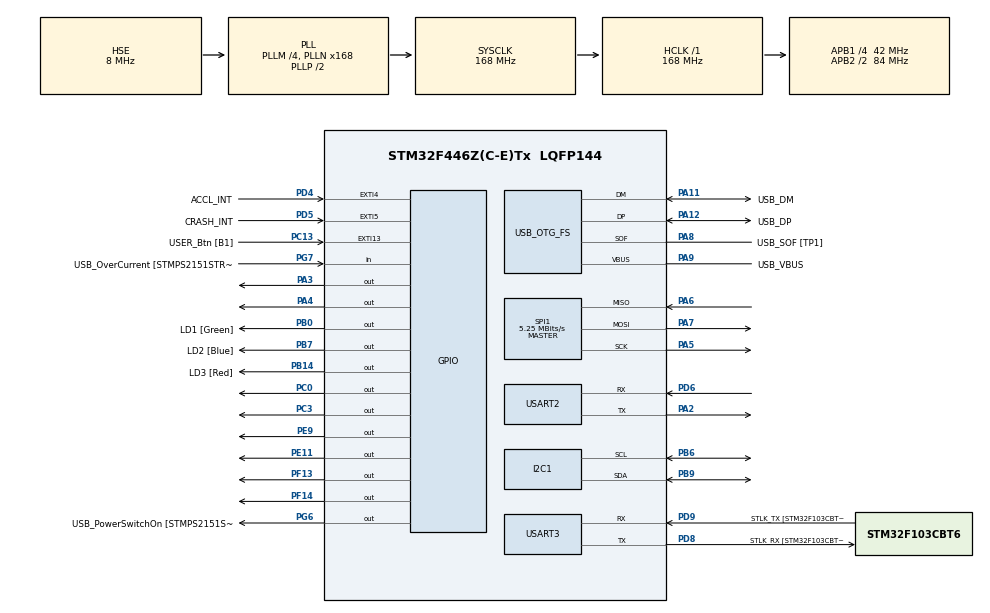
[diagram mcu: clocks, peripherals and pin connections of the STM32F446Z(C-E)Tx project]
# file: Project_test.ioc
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Dma.Request0=USART3_TX
Dma.USART3_TX.0.Direction=DMA_MEMORY_TO_PERIPH
Dma.USART3_TX.0.FIFOMode=DMA_FIFOMODE_DISABLE
Dma.USART3_TX.0.Instance=DMA1_Stream3
Dma.USART3_TX.0.MemDataAlignment=DMA_MDATAALIGN_BYTE
Dma.USART3_TX.0.MemInc=DMA_MINC_ENABLE
Dma.USART3_TX.0.Mode=DMA_NORMAL
Dma.USART3_TX.0.PeriphDataAlignment=DMA_PDATAALIGN_BYTE
Dma.USART3_TX.0.PeriphInc=DMA_PINC_DISABLE
Dma.USART3_TX.0.Priority=DMA_PRIORITY_LOW
FATFS._MAX_SS=4096
FATFS._USE_LFN=1
Mcu.Family=STM32F4
Mcu.Name=STM32F446Z(C-E)Tx
Mcu.Package=LQFP144
NVIC.DMA1_Stream3_IRQn=true\:0\:0\:false\:false\:true\:false\:true\:true
NVIC.EXTI4_IRQn=true\:0\:0\:false\:false\:true\:true\:true\:true
NVIC.EXTI9_5_IRQn=true\:0\:0\:false\:false\:true\:true\:true\:true
NVIC.PriorityGroup=NVIC_PRIORITYGROUP_4
NVIC.TIM6_DAC_IRQn=true\:0\:0\:false\:false\:true\:true\:true\:true
PA10.GPIO_Label=USB_ID
PA10.Signal=USB_OTG_FS_ID
PA11.GPIO_Label=USB_DM
PA11.Mode=Device_Only
PA11.Signal=USB_OTG_FS_DM
PA12.GPIO_Label=USB_DP
PA12.Mode=Device_Only
PA12.Signal=USB_OTG_FS_DP
PA13.GPIO_Label=TMS
PA13.Mode=Serial_Wire
PA13.Signal=SYS_JTMS-SWDIO
PA14.GPIO_Label=TCK
PA14.Mode=Serial_Wire
PA14.Signal=SYS_JTCK-SWCLK
PA2.Mode=Asynchronous
PA2.Signal=USART2_TX
PA3.Signal=GPIO_Output
PA4.Signal=GPIO_Output
PA5.Mode=Full_Duplex_Master
PA5.Signal=SPI1_SCK
PA6.Mode=Full_Duplex_Master
PA6.Signal=SPI1_MISO
PA7.Mode=Full_Duplex_Master
PA7.Signal=SPI1_MOSI
PA8.GPIO_Label=USB_SOF [TP1]
PA8.Mode=Activate_SOF_FS
PA8.Signal=USB_OTG_FS_SOF
PA9.GPIO_Label=USB_VBUS
PA9.Mode=Activate_VBUS
PA9.Signal=USB_OTG_FS_VBUS
PB0.GPIO_Label=LD1 [Green]
PB0.Signal=GPIO_Output
PB14.GPIO_Label=LD3 [Red]
PB14.Signal=GPIO_Output
PB6.Mode=I2C
PB6.Signal=I2C1_SCL
PB7.GPIO_Label=LD2 [Blue]
PB7.Signal=GPIO_Output
PB9.Mode=I2C
PB9.Signal=I2C1_SDA
PC0.Signal=GPIO_Output
PC13.GPIO_Label=USER_Btn [B1]
PC13.Signal=GPXTI13
PC14-OSC32_IN.Mode=LSE-External-Oscillator
PC14-OSC32_IN.Signal=RCC_OSC32_IN
PC15-OSC32_OUT.Mode=LSE-External-Oscillator
PC15-OSC32_OUT.Signal=RCC_OSC32_OUT
PC3.Signal=GPIO_Output
PD4.GPIO_Label=ACCL_INT
PD4.GPIO_PuPd=GPIO_PULLDOWN
PD4.Signal=GPXTI4
PD5.GPIO_Label=CRASH_INT
PD5.GPIO_PuPd=GPIO_PULLDOWN
PD5.Signal=GPXTI5
PD6.Mode=Asynchronous
PD6.Signal=USART2_RX
PD8.GPIO_Label=STLK_RX [STM32F103CBT6_PA3]
PD8.Mode=Asynchronous
PD8.Signal=USART3_TX
PD9.GPIO_Label=STLK_TX [STM32F103CBT6_PA2]
PD9.Mode=Asynchronous
PD9.Signal=USART3_RX
PE11.Signal=GPIO_Output
PE9.Signal=GPIO_Output
PF13.Signal=GPIO_Output
PF14.Signal=GPIO_Output
PG6.GPIO_Label=USB_PowerSwitchOn [STMPS2151STR_EN]
PG6.Signal=GPIO_Output
PG7.GPIO_Label=USB_OverCurrent [STMPS2151STR_FAULT]
PG7.Signal=GPIO_Input
PH0-OSC_IN.GPIO_Label=MCO [STM32F103CBT6_PA8]
PH0-OSC_IN.Mode=HSE-External-Clock-Source
PH0-OSC_IN.Signal=RCC_OSC_IN
PH1-OSC_OUT.Mode=HSE-External-Clock-Source
PH1-OSC_OUT.Signal=RCC_OSC_OUT
ProjectManager.HeapSize=0x200
ProjectManager.StackSize=0x400
ProjectManager.TargetToolchain=MDK-ARM V5.32
RCC.48MHZClocksFreq_Value=24000000
RCC.AHBFreq_Value=168000000
RCC.APB1CLKDivider=RCC_HCLK_DIV4
RCC.APB1Freq_Value=42000000
RCC.APB1TimFreq_Value=84000000
RCC.APB2CLKDivider=RCC_HCLK_DIV2
RCC.APB2Freq_Value=84000000
RCC.APB2TimFreq_Value=168000000
RCC.CortexFreq_Value=168000000
RCC.HCLKFreq_Value=168000000
RCC.HSE_VALUE=8000000
RCC.HSI_VALUE=16000000
RCC.PLLM=4
RCC.PLLMUL=RCC_PLL_MUL9
RCC.PLLN=168
RCC.PLLQ=7
RCC.PRESCALERUSB=RCC_USBCLKSOURCE_PLL_DIV1_5
RCC.SYSCLKFreq_VALUE=168000000
RCC.SYSCLKSource=RCC_SYSCLKSOURCE_PLLCLK
RCC.SYSCLKSourceVirtual=RCC_SYSCLKSOURCE_PLLCLK
RCC.USBFreq_Value=48000000
RCC.VCOOutputFreq_Value=336000000
SPI1.BaudRatePrescaler=SPI_BAUDRATEPRESCALER_16
SPI1.CalculateBaudRate=5.25 MBits/s
SPI1.Direction=SPI_DIRECTION_2LINES
SPI1.Mode=SPI_MODE_MASTER
SPI1.VirtualType=VM_MASTER
TIM1.Period=0xffff-1
TIM1.Prescaler=168-1
TIM6.Period=2000-1
TIM6.Prescaler=8400-1
USART2.VirtualMode=VM_ASYNC
USART3.VirtualMode=VM_ASYNC
USB_OTG_FS.VirtualMode=Device_Only
VP_FATFS_VS_Generic.Mode=User_defined
VP_TIM1_VS_ClockSourceINT.Mode=Internal
VP_TIM6_VS_ClockSourceINT.Mode=Enable_Timer
board=NUCLEO-F446ZE

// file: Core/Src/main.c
/* USER CODE BEGIN Header */
/**
  ******************************************************************************
  * @file           : main.c
  * @brief          : Main program body
  ******************************************************************************
  * @attention
  *
  * Copyright (c) 2024 STMicroelectronics.
  * All rights reserved.
  *
  * This software is licensed under terms that can be found in the LICENSE file
  * in the root directory of this software component.
  * If no LICENSE file comes with this software, it is provided AS-IS.
  *
  ******************************************************************************
  */
/* USER CODE END Header */
#include "main.h"
#include "fatfs.h"

/* USER CODE BEGIN Includes */
#include "config.h"
#include "lsm303agr.h"
#include "lcd1602.h"
#include "fatfs_sd.h"
#include <stdio.h>
#include <string.h>
/* USER CODE END Includes */

I2C_HandleTypeDef hi2c1;

SPI_HandleTypeDef hspi1;

TIM_HandleTypeDef htim1;
TIM_HandleTypeDef htim6;

UART_HandleTypeDef huart2;
UART_HandleTypeDef huart3;
DMA_HandleTypeDef hdma_usart3_tx;

PCD_HandleTypeDef hpcd_USB_OTG_FS;

void SystemClock_Config(void);
static void MX_GPIO_Init(void);
static void MX_DMA_Init(void);
static void MX_I2C1_Init(void);
static void MX_USART3_UART_Init(void);
static void MX_USB_OTG_FS_PCD_Init(void);
static void MX_TIM6_Init(void);
static void MX_TIM1_Init(void);
static void MX_SPI1_Init(void);
static void MX_USART2_UART_Init(void);

/* USER CODE BEGIN 0 */
FATFS fs;
FIL file;
FRESULT fresult;
char buffer[1024];

UINT br, bw;

//capacity
FATFS *pfs;
DWORD fre_clust;
uint32_t total, free_space;

int buffer_size(char *buffer)
{
	int i=0;
	while (*buffer++ != '\0') i++;
	return i;
}

void buffer_clear(void)
{
	for (int i=0; i<1024; i++)
	{
		buffer[i] = '\0';
	}
}
/* USER CODE END 0 */

int main(void)
{
  /* USER CODE BEGIN 1 */
	char msg[100];
	char* accelerating = "Accelerating... ";
	char* decelerating = "Decelerating... ";
	char* cruising = "Cruising/Idle...";
	char* crashing = "Crashing...";
	struct ac accelerationBufferOld[FIFO_SIZE];
  /* USER CODE END 1 */

  /* MCU Configuration--------------------------------------------------------*/

  /* Reset of all peripherals, Initializes the Flash interface and the Systick. */
  HAL_Init();

  /* Configure the system clock */
  SystemClock_Config();

  /* Initialize all configured peripherals */
  MX_GPIO_Init();
  MX_DMA_Init();
  MX_I2C1_Init();
  MX_USART3_UART_Init();
  MX_USB_OTG_FS_PCD_Init();
  MX_TIM6_Init();
  MX_TIM1_Init();
  MX_SPI1_Init();
  MX_USART2_UART_Init();
  MX_FATFS_Init();
  /* USER CODE BEGIN 2 */

	// Open sd and write something
	fresult = f_mount(&fs, "/", 1);
	sprintf(msg, "fresult: %d", fresult);
	print_msg(msg);
	fresult = f_open(&file, "Data.txt", FA_CREATE_ALWAYS | FA_WRITE);
	sprintf(msg, "fresult: %d", fresult);
	print_msg(msg);
	sprintf(buffer, "Logging travel data\r\n");
	fresult = f_write(&file, buffer, buffer_size(buffer), &bw);
	sprintf(msg, "fresult: %d", fresult);
	print_msg(msg);

	// other inits
	lcd_init();																			// need led plugged in?
	lcd_put_cur(0, 0);
	lsm303agr_init();
	HAL_Delay(1000);
	HAL_GPIO_TogglePin(LD1_GPIO_Port, LD1_Pin);				// signal ready
	lcd_send_string("Init Complete!");
	HAL_Delay(1000);
	lcd_clear();
	lsm303agr_fifo_en();															// kick start measurements

  /* USER CODE END 2 */

  /* Infinite loop */
  /* USER CODE BEGIN WHILE */
  while (int_crash == 0)
  {
		while (int_acc == 0) {								// spin (120-140ms)
			HAL_Delay(0);
		}
		int_acc = 0;			// reset

		// lsm303agr_write(CTRL_REG6_A, 0b00000000, 'a');				// enable INT2 functionality

		__disable_irq();
		lsm303agr_fifo_save();								// read FIFO (25ms + 5ms for avg??)
		__enable_irq();
		lsm303agr_bypass_en();								// reset FIFO (??ms)
		// __enable_irq();
		/*
		for (int i = 0; i < FIFO_SIZE; i++) {	// cache old
			accelerationBufferOld[i].x = accelerationBuffer[i].x;
		}
		*/
		// lsm303agr_write(CTRL_REG6_A, 0b00100000, 'a');				// enable INT2 functionality

		lsm303agr_fifo_en();									// enable FIFO to read in background (??ms) -> next cycle begins
		// __enable_irq();
		// lsm303agr_write(CTRL_REG6_A, 0b00100000, 'a');				// enable INT2 functionality

		/*
		for (int i = 0; i < FIFO_SIZE; i++) {
			sprintf(msg, "FIFO[%d]: %f, %f, %f, %d\r\n", i, accelerationBuffer[i].x, accelerationBuffer[i].y, accelerationBuffer[i].z, __HAL_TIM_GET_COUNTER(&htim6) / 10);
			HAL_UART_Transmit(&huart3, (uint8_t*)msg, strlen(msg), 1000);
		}
		*/

		lsm303agr_poll_temp();								// get temp (2ms)

		lsm303agr_poll_xyz_mag();							// get direction	(2ms)

		// calculations and stuff (??ms)

		lcd_clear();													// clear (2ms)
		lcd_put_cur(0, 0);										// write to display (??ms)
		char vehicleStatus[20];
		switch (xState) {
			case 0: lcd_send_string(cruising); strcpy(vehicleStatus, cruising); break;
			case 1: lcd_send_string(accelerating); strcpy(vehicleStatus, accelerating); break;
			case 2: lcd_send_string(decelerating); strcpy(vehicleStatus, decelerating); break;
			case 3: lcd_send_string(crashing); strcpy(vehicleStatus, crashing); break;
			default: break;
		}
		lcd_put_cur(1, 0);
		lcd_send_string("Direction:");
		lcd_put_cur(1, 10);
		lcd_send_string(magneticField.direction);

		// write -> 5.9ms
		sprintf(buffer, "Temp: %dC\tHeading: %s\t\tState: %s\t\tAcceleration %f %f %f %f %f %f %f %f %f %f\r\n", temp, magneticField.direction, vehicleStatus, accelerationBuffer[0].x, accelerationBuffer[1].x, accelerationBuffer[2].x, accelerationBuffer[3].x, accelerationBuffer[4].x, accelerationBuffer[5].x, accelerationBuffer[6].x, accelerationBuffer[7].x, accelerationBuffer[8].x, accelerationBuffer[9].x);
		fresult = f_write(&file, buffer, buffer_size(buffer), &bw);

		HAL_GPIO_TogglePin(LD1_GPIO_Port, LD1_Pin);

    /* USER CODE END WHILE */

    /* USER CODE BEGIN 3 */
  }

	// Crash code
	lcd_clear();
	lcd_put_cur(0, 0);
	lcd_send_string("Crash!!!");
	lcd_put_cur(1, 0);
	lcd_send_string("Check Logs!!!");
	sprintf(buffer, "Vehicle crashed!!!\r\n");
	fresult = f_write(&file, buffer, buffer_size(buffer), &bw);
	sprintf(buffer, "Showing the final %d samples of accelerometer data...\r\n", FIFO_SIZE);
	fresult = f_write(&file, buffer, buffer_size(buffer), &bw);
	/*
	for (int i = 0; i < FIFO_SIZE; i++) {
		sprintf(buffer, "Data %d: Acceleration: %fG\r\n", i, accelerationBufferOld[i].x);
		fresult = f_write(&file, buffer, buffer_size(buffer), &bw);
	}
	*/
	__disable_irq();
	lsm303agr_fifo_save();								// read FIFO (25ms + 5ms for avg??)
	__enable_irq();
	for (int i = 0; i < FIFO_SIZE; i++) {
		sprintf(buffer, "Data %d: Acceleration: %fG\r\n", i, accelerationBuffer[i].x);
		fresult = f_write(&file, buffer, buffer_size(buffer), &bw);
	}
	sprintf(buffer, "Black box data complete.\r\n");
	fresult = f_write(&file, buffer, buffer_size(buffer), &bw);

	// safely unmount sd, required for file to be written
	f_close(&file);
	fresult = f_mount(NULL, "/", 1);

	// status led
	while (1) {
		HAL_GPIO_TogglePin(LD3_GPIO_Port, LD3_Pin);
		HAL_Delay(500);
	}
	// something something print here
	// something something log here

  /* USER CODE END 3 */
}

void SystemClock_Config(void)
{
  RCC_OscInitTypeDef RCC_OscInitStruct = {0};
  RCC_ClkInitTypeDef RCC_ClkInitStruct = {0};

  /** Configure the main internal regulator output voltage
  */
  __HAL_RCC_PWR_CLK_ENABLE();
  __HAL_PWR_VOLTAGESCALING_CONFIG(PWR_REGULATOR_VOLTAGE_SCALE1);

  /** Initializes the RCC Oscillators according to the specified parameters
  * in the RCC_OscInitTypeDef structure.
  */
  RCC_OscInitStruct.OscillatorType = RCC_OSCILLATORTYPE_HSE;
  RCC_OscInitStruct.HSEState = RCC_HSE_BYPASS;
  RCC_OscInitStruct.PLL.PLLState = RCC_PLL_ON;
  RCC_OscInitStruct.PLL.PLLSource = RCC_PLLSOURCE_HSE;
  RCC_OscInitStruct.PLL.PLLM = 4;
  RCC_OscInitStruct.PLL.PLLN = 168;
  RCC_OscInitStruct.PLL.PLLP = RCC_PLLP_DIV2;
  RCC_OscInitStruct.PLL.PLLQ = 7;
  RCC_OscInitStruct.PLL.PLLR = 2;
  if (HAL_RCC_OscConfig(&RCC_OscInitStruct) != HAL_OK)
  {
    Error_Handler();
  }

  /** Initializes the CPU, AHB and APB buses clocks
  */
  RCC_ClkInitStruct.ClockType = RCC_CLOCKTYPE_HCLK|RCC_CLOCKTYPE_SYSCLK
                              |RCC_CLOCKTYPE_PCLK1|RCC_CLOCKTYPE_PCLK2;
  RCC_ClkInitStruct.SYSCLKSource = RCC_SYSCLKSOURCE_PLLCLK;
  RCC_ClkInitStruct.AHBCLKDivider = RCC_SYSCLK_DIV1;
  RCC_ClkInitStruct.APB1CLKDivider = RCC_HCLK_DIV4;
  RCC_ClkInitStruct.APB2CLKDivider = RCC_HCLK_DIV2;

  if (HAL_RCC_ClockConfig(&RCC_ClkInitStruct, FLASH_LATENCY_5) != HAL_OK)
  {
    Error_Handler();
  }
}

static void MX_I2C1_Init(void)
{

  hi2c1.Instance = I2C1;
  hi2c1.Init.ClockSpeed = 100000;
  hi2c1.Init.DutyCycle = I2C_DUTYCYCLE_2;
  hi2c1.Init.OwnAddress1 = 0;
  hi2c1.Init.AddressingMode = I2C_ADDRESSINGMODE_7BIT;
  hi2c1.Init.DualAddressMode = I2C_DUALADDRESS_DISABLE;
  hi2c1.Init.OwnAddress2 = 0;
  hi2c1.Init.GeneralCallMode = I2C_GENERALCALL_DISABLE;
  hi2c1.Init.NoStretchMode = I2C_NOSTRETCH_DISABLE;
  if (HAL_I2C_Init(&hi2c1) != HAL_OK)
  {
    Error_Handler();
  }

}

static void MX_SPI1_Init(void)
{

  /* SPI1 parameter configuration*/
  hspi1.Instance = SPI1;
  hspi1.Init.Mode = SPI_MODE_MASTER;
  hspi1.Init.Direction = SPI_DIRECTION_2LINES;
  hspi1.Init.DataSize = SPI_DATASIZE_8BIT;
  hspi1.Init.CLKPolarity = SPI_POLARITY_LOW;
  hspi1.Init.CLKPhase = SPI_PHASE_1EDGE;
  hspi1.Init.NSS = SPI_NSS_SOFT;
  hspi1.Init.BaudRatePrescaler = SPI_BAUDRATEPRESCALER_16;
  hspi1.Init.FirstBit = SPI_FIRSTBIT_MSB;
  hspi1.Init.TIMode = SPI_TIMODE_DISABLE;
  hspi1.Init.CRCCalculation = SPI_CRCCALCULATION_DISABLE;
  hspi1.Init.CRCPolynomial = 10;
  if (HAL_SPI_Init(&hspi1) != HAL_OK)
  {
    Error_Handler();
  }

}

static void MX_TIM1_Init(void)
{

  TIM_ClockConfigTypeDef sClockSourceConfig = {0};
  TIM_MasterConfigTypeDef sMasterConfig = {0};

  htim1.Instance = TIM1;
  htim1.Init.Prescaler = 168-1;
  htim1.Init.CounterMode = TIM_COUNTERMODE_UP;
  htim1.Init.Period = 0xffff-1;
  htim1.Init.ClockDivision = TIM_CLOCKDIVISION_DIV1;
  htim1.Init.RepetitionCounter = 0;
  htim1.Init.AutoReloadPreload = TIM_AUTORELOAD_PRELOAD_DISABLE;
  if (HAL_TIM_Base_Init(&htim1) != HAL_OK)
  {
    Error_Handler();
  }
  sClockSourceConfig.ClockSource = TIM_CLOCKSOURCE_INTERNAL;
  if (HAL_TIM_ConfigClockSource(&htim1, &sClockSourceConfig) != HAL_OK)
  {
    Error_Handler();
  }
  sMasterConfig.MasterOutputTrigger = TIM_TRGO_RESET;
  sMasterConfig.MasterSlaveMode = TIM_MASTERSLAVEMODE_DISABLE;
  if (HAL_TIMEx_MasterConfigSynchronization(&htim1, &sMasterConfig) != HAL_OK)
  {
    Error_Handler();
  }

}

static void MX_TIM6_Init(void)
{

  TIM_MasterConfigTypeDef sMasterConfig = {0};

  htim6.Instance = TIM6;
  htim6.Init.Prescaler = 8400-1;
  htim6.Init.CounterMode = TIM_COUNTERMODE_UP;
  htim6.Init.Period = 2000-1;
  htim6.Init.AutoReloadPreload = TIM_AUTORELOAD_PRELOAD_DISABLE;
  if (HAL_TIM_Base_Init(&htim6) != HAL_OK)
  {
    Error_Handler();
  }
  sMasterConfig.MasterOutputTrigger = TIM_TRGO_RESET;
  sMasterConfig.MasterSlaveMode = TIM_MASTERSLAVEMODE_DISABLE;
  if (HAL_TIMEx_MasterConfigSynchronization(&htim6, &sMasterConfig) != HAL_OK)
  {
    Error_Handler();
  }

}

static void MX_USART2_UART_Init(void)
{

  huart2.Instance = USART2;
  huart2.Init.BaudRate = 115200;
  huart2.Init.WordLength = UART_WORDLENGTH_8B;
  huart2.Init.StopBits = UART_STOPBITS_1;
  huart2.Init.Parity = UART_PARITY_NONE;
  huart2.Init.Mode = UART_MODE_TX_RX;
  huart2.Init.HwFlowCtl = UART_HWCONTROL_NONE;
  huart2.Init.OverSampling = UART_OVERSAMPLING_16;
  if (HAL_UART_Init(&huart2) != HAL_OK)
  {
    Error_Handler();
  }

}

static void MX_USART3_UART_Init(void)
{

  huart3.Instance = USART3;
  huart3.Init.BaudRate = 115200;
  huart3.Init.WordLength = UART_WORDLENGTH_8B;
  huart3.Init.StopBits = UART_STOPBITS_1;
  huart3.Init.Parity = UART_PARITY_NONE;
  huart3.Init.Mode = UART_MODE_TX_RX;
  huart3.Init.HwFlowCtl = UART_HWCONTROL_NONE;
  huart3.Init.OverSampling = UART_OVERSAMPLING_16;
  if (HAL_UART_Init(&huart3) != HAL_OK)
  {
    Error_Handler();
  }

}

static void MX_USB_OTG_FS_PCD_Init(void)
{

  hpcd_USB_OTG_FS.Instance = USB_OTG_FS;
  hpcd_USB_OTG_FS.Init.dev_endpoints = 6;
  hpcd_USB_OTG_FS.Init.speed = PCD_SPEED_FULL;
  hpcd_USB_OTG_FS.Init.dma_enable = DISABLE;
  hpcd_USB_OTG_FS.Init.phy_itface = PCD_PHY_EMBEDDED;
  hpcd_USB_OTG_FS.Init.Sof_enable = ENABLE;
  hpcd_USB_OTG_FS.Init.low_power_enable = DISABLE;
  hpcd_USB_OTG_FS.Init.lpm_enable = DISABLE;
  hpcd_USB_OTG_FS.Init.vbus_sensing_enable = ENABLE;
  hpcd_USB_OTG_FS.Init.use_dedicated_ep1 = DISABLE;
  if (HAL_PCD_Init(&hpcd_USB_OTG_FS) != HAL_OK)
  {
    Error_Handler();
  }

}

static void MX_DMA_Init(void)
{

  /* DMA controller clock enable */
  __HAL_RCC_DMA1_CLK_ENABLE();

  /* DMA interrupt init */
  /* DMA1_Stream3_IRQn interrupt configuration */
  HAL_NVIC_SetPriority(DMA1_Stream3_IRQn, 0, 0);
  HAL_NVIC_EnableIRQ(DMA1_Stream3_IRQn);

}

static void MX_GPIO_Init(void)
{
  GPIO_InitTypeDef GPIO_InitStruct = {0};

  /* GPIO Ports Clock Enable */
  __HAL_RCC_GPIOC_CLK_ENABLE();
  __HAL_RCC_GPIOH_CLK_ENABLE();
  __HAL_RCC_GPIOA_CLK_ENABLE();
  __HAL_RCC_GPIOB_CLK_ENABLE();
  __HAL_RCC_GPIOF_CLK_ENABLE();
  __HAL_RCC_GPIOE_CLK_ENABLE();
  __HAL_RCC_GPIOD_CLK_ENABLE();
  __HAL_RCC_GPIOG_CLK_ENABLE();

  /*Configure GPIO pin Output Level */
  HAL_GPIO_WritePin(GPIOC, GPIO_PIN_0|GPIO_PIN_3, GPIO_PIN_RESET);

  /*Configure GPIO pin Output Level */
  HAL_GPIO_WritePin(GPIOA, GPIO_PIN_3|GPIO_PIN_4, GPIO_PIN_RESET);

  /*Configure GPIO pin Output Level */
  HAL_GPIO_WritePin(GPIOB, LD1_Pin|LD3_Pin|LD2_Pin, GPIO_PIN_RESET);

  /*Configure GPIO pin Output Level */
  HAL_GPIO_WritePin(GPIOF, GPIO_PIN_13|GPIO_PIN_14, GPIO_PIN_RESET);

  /*Configure GPIO pin Output Level */
  HAL_GPIO_WritePin(GPIOE, GPIO_PIN_9|GPIO_PIN_11, GPIO_PIN_RESET);

  /*Configure GPIO pin Output Level */
  HAL_GPIO_WritePin(USB_PowerSwitchOn_GPIO_Port, USB_PowerSwitchOn_Pin, GPIO_PIN_RESET);

  /*Configure GPIO pin : USER_Btn_Pin */
  GPIO_InitStruct.Pin = USER_Btn_Pin;
  GPIO_InitStruct.Mode = GPIO_MODE_IT_RISING;
  GPIO_InitStruct.Pull = GPIO_NOPULL;
  HAL_GPIO_Init(USER_Btn_GPIO_Port, &GPIO_InitStruct);

  /*Configure GPIO pins : PC0 PC3 */
  GPIO_InitStruct.Pin = GPIO_PIN_0|GPIO_PIN_3;
  GPIO_InitStruct.Mode = GPIO_MODE_OUTPUT_PP;
  GPIO_InitStruct.Pull = GPIO_NOPULL;
  GPIO_InitStruct.Speed = GPIO_SPEED_FREQ_LOW;
  HAL_GPIO_Init(GPIOC, &GPIO_InitStruct);

  /*Configure GPIO pins : PA3 PA4 */
  GPIO_InitStruct.Pin = GPIO_PIN_3|GPIO_PIN_4;
  GPIO_InitStruct.Mode = GPIO_MODE_OUTPUT_PP;
  GPIO_InitStruct.Pull = GPIO_NOPULL;
  GPIO_InitStruct.Speed = GPIO_SPEED_FREQ_LOW;
  HAL_GPIO_Init(GPIOA, &GPIO_InitStruct);

  /*Configure GPIO pins : LD1_Pin LD3_Pin LD2_Pin */
  GPIO_InitStruct.Pin = LD1_Pin|LD3_Pin|LD2_Pin;
  GPIO_InitStruct.Mode = GPIO_MODE_OUTPUT_PP;
  GPIO_InitStruct.Pull = GPIO_NOPULL;
  GPIO_InitStruct.Speed = GPIO_SPEED_FREQ_LOW;
  HAL_GPIO_Init(GPIOB, &GPIO_InitStruct);

  /*Configure GPIO pins : PF13 PF14 */
  GPIO_InitStruct.Pin = GPIO_PIN_13|GPIO_PIN_14;
  GPIO_InitStruct.Mode = GPIO_MODE_OUTPUT_PP;
  GPIO_InitStruct.Pull = GPIO_NOPULL;
  GPIO_InitStruct.Speed = GPIO_SPEED_FREQ_LOW;
  HAL_GPIO_Init(GPIOF, &GPIO_InitStruct);

  /*Configure GPIO pins : PE9 PE11 */
  GPIO_InitStruct.Pin = GPIO_PIN_9|GPIO_PIN_11;
  GPIO_InitStruct.Mode = GPIO_MODE_OUTPUT_PP;
  GPIO_InitStruct.Pull = GPIO_NOPULL;
  GPIO_InitStruct.Speed = GPIO_SPEED_FREQ_LOW;
  HAL_GPIO_Init(GPIOE, &GPIO_InitStruct);

  /*Configure GPIO pin : USB_PowerSwitchOn_Pin */
  GPIO_InitStruct.Pin = USB_PowerSwitchOn_Pin;
  GPIO_InitStruct.Mode = GPIO_MODE_OUTPUT_PP;
  GPIO_InitStruct.Pull = GPIO_NOPULL;
  GPIO_InitStruct.Speed = GPIO_SPEED_FREQ_LOW;
  HAL_GPIO_Init(USB_PowerSwitchOn_GPIO_Port, &GPIO_InitStruct);

  /*Configure GPIO pin : USB_OverCurrent_Pin */
  GPIO_InitStruct.Pin = USB_OverCurrent_Pin;
  GPIO_InitStruct.Mode = GPIO_MODE_INPUT;
  GPIO_InitStruct.Pull = GPIO_NOPULL;
  HAL_GPIO_Init(USB_OverCurrent_GPIO_Port, &GPIO_InitStruct);

  /*Configure GPIO pins : ACCL_INT_Pin CRASH_INT_Pin */
  GPIO_InitStruct.Pin = ACCL_INT_Pin|CRASH_INT_Pin;
  GPIO_InitStruct.Mode = GPIO_MODE_IT_RISING;
  GPIO_InitStruct.Pull = GPIO_PULLDOWN;
  HAL_GPIO_Init(GPIOD, &GPIO_InitStruct);

  /* EXTI interrupt init*/
  HAL_NVIC_SetPriority(EXTI4_IRQn, 0, 0);
  HAL_NVIC_EnableIRQ(EXTI4_IRQn);

  HAL_NVIC_SetPriority(EXTI9_5_IRQn, 0, 0);
  HAL_NVIC_EnableIRQ(EXTI9_5_IRQn);

}

void Error_Handler(void)
{
  __disable_irq();
  while (1)
  {
  }
}
